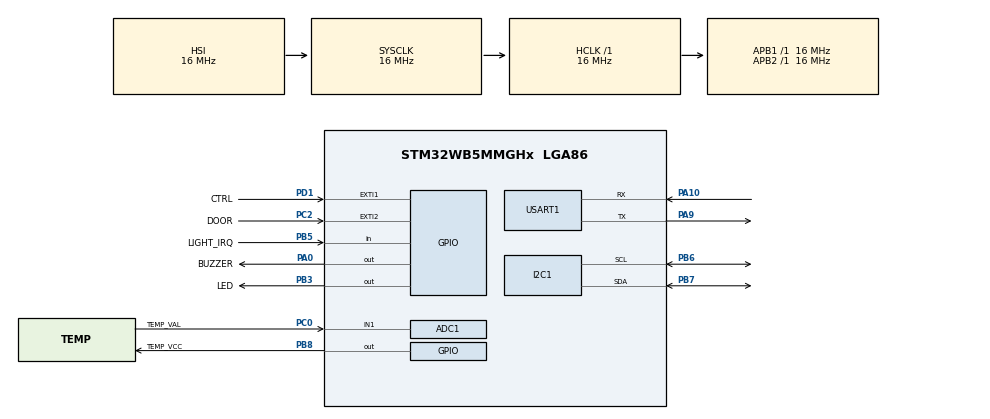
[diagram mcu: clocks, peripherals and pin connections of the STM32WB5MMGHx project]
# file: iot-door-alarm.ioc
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ADC1.Channel-0\#ChannelRegularConversion=ADC_CHANNEL_1
ADC1.NbrOfConversionFlag=1
ADC1.OffsetNumber-0\#ChannelRegularConversion=ADC_OFFSET_NONE
ADC1.Rank-0\#ChannelRegularConversion=1
ADC1.SamplingTime-0\#ChannelRegularConversion=ADC_SAMPLETIME_2CYCLES_5
ADC1.master=1
I2C1.Timing=0x00303D5B
Mcu.Family=STM32WB
Mcu.Name=STM32WB5MMGHx
Mcu.Package=LGA86
NVIC.EXTI1_IRQn=true\:0\:0\:false\:false\:true\:true\:true\:true
NVIC.EXTI2_IRQn=true\:0\:0\:false\:false\:true\:true\:true\:true
NVIC.PriorityGroup=NVIC_PRIORITYGROUP_4
PA0.GPIO_Label=BUZZER
PA0.Signal=GPIO_Output
PA10.Mode=Asynchronous
PA10.Signal=USART1_RX
PA13.Mode=Serial_Wire
PA13.Signal=SYS_JTMS-SWDIO
PA14.Mode=Serial_Wire
PA14.Signal=SYS_JTCK-SWCLK
PA9.Mode=Asynchronous
PA9.Signal=USART1_TX
PB3.GPIO_Label=LED
PB3.PinState=GPIO_PIN_RESET
PB3.Signal=GPIO_Output
PB5.GPIO_Label=LIGHT_IRQ
PB5.Signal=GPIO_Input
PB6.Mode=I2C
PB6.Signal=I2C1_SCL
PB7.Mode=I2C
PB7.Signal=I2C1_SDA
PB8.GPIO_FM8=__NULL
PB8.GPIO_Label=TEMP_VCC
PB8.Signal=GPIO_Output
PC0.GPIO_Label=TEMP_VAL
PC0.Signal=SharedAnalog_PC0
PC2.GPIO_Label=DOOR
PC2.Signal=GPXTI2
PD1.GPIO_Label=CTRL
PD1.GPIO_PuPd=GPIO_PULLDOWN
PD1.Signal=GPXTI1
ProjectManager.HeapSize=0x200
ProjectManager.StackSize=0x400
ProjectManager.TargetToolchain=STM32CubeIDE
RCC.ADCFreq_Value=48000000
RCC.AHBFreq_Value=16000000
RCC.APB1Freq_Value=16000000
RCC.APB1TimFreq_Value=16000000
RCC.APB2Freq_Value=16000000
RCC.APB2TimFreq_Value=16000000
RCC.APB3Freq_Value=16000000
RCC.CortexFreq_Value=16000000
RCC.HCLKFreq_Value=16000000
RCC.HSE_VALUE=32000000
RCC.HSI48_VALUE=48000000
RCC.HSI_VALUE=16000000
RCC.PLLSAI1N=24
RCC.SYSCLKFreq_VALUE=16000000
RCC.SYSCLKSource=RCC_SYSCLKSOURCE_HSI
RCC.USBFreq_Value=48000000
RCC.VCOOutputFreq_Value=32000000
SH.SharedAnalog_PC0.0=GPIO_Analog
SH.SharedAnalog_PC0.1=ADC1_IN1,IN1-Single-Ended
USART1.VirtualMode-Asynchronous=VM_ASYNC
VP_MEMORYMAP_VS_MEMORYMAP.Mode=CurAppReg
board=custom

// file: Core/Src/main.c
/* USER CODE BEGIN Header */
/**
 ******************************************************************************
 * @file           : main.c
 * @brief          : Main program body
 ******************************************************************************
 * @attention
 *
 * Copyright (c) 2023 STMicroelectronics.
 * All rights reserved.
 *
 * This software is licensed under terms that can be found in the LICENSE file
 * in the root directory of this software component.
 * If no LICENSE file comes with this software, it is provided AS-IS.
 *
 ******************************************************************************
 */
/* USER CODE END Header */
#include "main.h"

/* USER CODE BEGIN Includes */
#include <stdio.h>
#include "alarmefrigo.h"
#include "shtc3.h"

/* USER CODE END Includes */

/* USER CODE BEGIN PD */
float readVbatt(void);
/* USER CODE END PD */

ADC_HandleTypeDef hadc1;

I2C_HandleTypeDef hi2c1;

UART_HandleTypeDef huart1;

/* USER CODE BEGIN PV */

#ifdef __GNUC__
#define PUTCHAR_PROTOTYPE int __io_putchar(int ch)
#else
#define PUTCHAR_PROTOTYPE int fputc(int ch, FILE *f)
#endif

PUTCHAR_PROTOTYPE
{
	HAL_UART_Transmit(&huart1, (uint8_t *)&ch, 1, HAL_MAX_DELAY);
	return ch;
}

/* if 0: normal mode,
 * if 1: suspended (all switches can wake the CPU),
 * is 2: powerdown (only user button can wake the CPU).
 */
int suspended = 0;

void suspend(int mode)
{
	HAL_SuspendTick();
	suspended = mode;

	// Shutdown RF coprocessor.
	LL_C2_PWR_SetPowerMode(LL_PWR_MODE_STOP2);

	while (1)
	{
		// Shutdown CPU.
		HAL_PWREx_EnterSTOP2Mode(PWR_SLEEPENTRY_WFI);

		if (suspended == 0)
			break;
	}

	HAL_ResumeTick();
}

void sleep(uint32_t time)
{
	for (int t = 0; t < time; ++t)
		HAL_PWR_EnterSLEEPMode(PWR_MAINREGULATOR_ON, PWR_SLEEPENTRY_WFI);
}

/* USER CODE END PV */

void SystemClock_Config(void);
void PeriphCommonClock_Config(void);
static void MX_GPIO_Init(void);
static void MX_MEMORYMAP_Init(void);
static void MX_USART1_UART_Init(void);
static void MX_ADC1_Init(void);
static void MX_I2C1_Init(void);

int main(void)
{

	/* MCU Configuration--------------------------------------------------------*/

	/* Reset of all peripherals, Initializes the Flash interface and the Systick. */
	HAL_Init();

	/* Configure the system clock */
	SystemClock_Config();

	/* Configure the peripherals common clocks */
	PeriphCommonClock_Config();

	/* Initialize all configured peripherals */
	MX_GPIO_Init();
	MX_MEMORYMAP_Init();
	MX_USART1_UART_Init();
	MX_ADC1_Init();
	MX_I2C1_Init();
	/* USER CODE BEGIN 2 */

	// Shutdown RF coprocessor.
	LL_C2_PWR_SetPowerMode(LL_PWR_MODE_STOP2);

	SHTC3_Init(SHTC3_I2C_ADDR << 1, &hi2c1);
	SHTC3_Wakeup();

	alarmefrigo_setup();

	//	float temp, humi, vbatt;
	//	while (1) {
	//		SHTC3_GetTempAndHumiPolling(&temp, &humi);
	//		vbatt = readVbatt();
	//	}
	//	printf("temperature %4.2f C", temp);
	//	printf("humidity %4.2f", humi);
	//	printf("vbatt %4.2f", vbatt);

	HAL_Delay(1000);

	SHTC3_Sleep();

	/* USER CODE END 2 */

	/* Infinite loop */
	while (1)
	{

		/* USER CODE BEGIN 3 */

		alarmefrigo_loop();
	}
	/* USER CODE END 3 */
}

void SystemClock_Config(void)
{
	RCC_OscInitTypeDef RCC_OscInitStruct =
		{0};
	RCC_ClkInitTypeDef RCC_ClkInitStruct =
		{0};

	/** Macro to configure the PLL multiplication factor
	 */
	__HAL_RCC_PLL_PLLM_CONFIG(RCC_PLLM_DIV1);

	/** Macro to configure the PLL clock source
	 */
	__HAL_RCC_PLL_PLLSOURCE_CONFIG(RCC_PLLSOURCE_MSI);

	/** Configure the main internal regulator output voltage
	 */
	__HAL_PWR_VOLTAGESCALING_CONFIG(PWR_REGULATOR_VOLTAGE_SCALE1);

	/** Initializes the RCC Oscillators according to the specified parameters
	 * in the RCC_OscInitTypeDef structure.
	 */
	RCC_OscInitStruct.OscillatorType = RCC_OSCILLATORTYPE_HSI | RCC_OSCILLATORTYPE_MSI;
	RCC_OscInitStruct.HSIState = RCC_HSI_ON;
	RCC_OscInitStruct.MSIState = RCC_MSI_ON;
	RCC_OscInitStruct.HSICalibrationValue = RCC_HSICALIBRATION_DEFAULT;
	RCC_OscInitStruct.MSICalibrationValue = RCC_MSICALIBRATION_DEFAULT;
	RCC_OscInitStruct.MSIClockRange = RCC_MSIRANGE_6;
	RCC_OscInitStruct.PLL.PLLState = RCC_PLL_NONE;
	if (HAL_RCC_OscConfig(&RCC_OscInitStruct) != HAL_OK)
	{
		Error_Handler();
	}

	/** Configure the SYSCLKSource, HCLK, PCLK1 and PCLK2 clocks dividers
	 */
	RCC_ClkInitStruct.ClockType = RCC_CLOCKTYPE_HCLK4 | RCC_CLOCKTYPE_HCLK2 | RCC_CLOCKTYPE_HCLK | RCC_CLOCKTYPE_SYSCLK | RCC_CLOCKTYPE_PCLK1 | RCC_CLOCKTYPE_PCLK2;
	RCC_ClkInitStruct.SYSCLKSource = RCC_SYSCLKSOURCE_HSI;
	RCC_ClkInitStruct.AHBCLKDivider = RCC_SYSCLK_DIV1;
	RCC_ClkInitStruct.APB1CLKDivider = RCC_HCLK_DIV1;
	RCC_ClkInitStruct.APB2CLKDivider = RCC_HCLK_DIV1;
	RCC_ClkInitStruct.AHBCLK2Divider = RCC_SYSCLK_DIV1;
	RCC_ClkInitStruct.AHBCLK4Divider = RCC_SYSCLK_DIV1;

	if (HAL_RCC_ClockConfig(&RCC_ClkInitStruct, FLASH_LATENCY_0) != HAL_OK)
	{
		Error_Handler();
	}
}

void PeriphCommonClock_Config(void)
{
	RCC_PeriphCLKInitTypeDef PeriphClkInitStruct =
		{0};

	/** Initializes the peripherals clock
	 */
	PeriphClkInitStruct.PeriphClockSelection = RCC_PERIPHCLK_SMPS;
	PeriphClkInitStruct.SmpsClockSelection = RCC_SMPSCLKSOURCE_HSI;
	PeriphClkInitStruct.SmpsDivSelection = RCC_SMPSCLKDIV_RANGE1;

	if (HAL_RCCEx_PeriphCLKConfig(&PeriphClkInitStruct) != HAL_OK)
	{
		Error_Handler();
	}
}

static void MX_ADC1_Init(void)
{

	ADC_ChannelConfTypeDef sConfig =
		{0};

	/** Common config
	 */
	hadc1.Instance = ADC1;
	hadc1.Init.ClockPrescaler = ADC_CLOCK_ASYNC_DIV1;
	hadc1.Init.Resolution = ADC_RESOLUTION_12B;
	hadc1.Init.DataAlign = ADC_DATAALIGN_RIGHT;
	hadc1.Init.ScanConvMode = ADC_SCAN_DISABLE;
	hadc1.Init.EOCSelection = ADC_EOC_SINGLE_CONV;
	hadc1.Init.LowPowerAutoWait = DISABLE;
	hadc1.Init.ContinuousConvMode = DISABLE;
	hadc1.Init.NbrOfConversion = 1;
	hadc1.Init.DiscontinuousConvMode = DISABLE;
	hadc1.Init.ExternalTrigConv = ADC_SOFTWARE_START;
	hadc1.Init.ExternalTrigConvEdge = ADC_EXTERNALTRIGCONVEDGE_NONE;
	hadc1.Init.DMAContinuousRequests = DISABLE;
	hadc1.Init.Overrun = ADC_OVR_DATA_PRESERVED;
	hadc1.Init.OversamplingMode = DISABLE;
	if (HAL_ADC_Init(&hadc1) != HAL_OK)
	{
		Error_Handler();
	}

	/** Configure Regular Channel
	 */
	sConfig.Channel = ADC_CHANNEL_1;
	sConfig.Rank = ADC_REGULAR_RANK_1;
	sConfig.SamplingTime = ADC_SAMPLETIME_2CYCLES_5;
	sConfig.SingleDiff = ADC_SINGLE_ENDED;
	sConfig.OffsetNumber = ADC_OFFSET_NONE;
	sConfig.Offset = 0;
	if (HAL_ADC_ConfigChannel(&hadc1, &sConfig) != HAL_OK)
	{
		Error_Handler();
	}
}

static void MX_I2C1_Init(void)
{

	hi2c1.Instance = I2C1;
	hi2c1.Init.Timing = 0x00303D5B;
	hi2c1.Init.OwnAddress1 = 0;
	hi2c1.Init.AddressingMode = I2C_ADDRESSINGMODE_7BIT;
	hi2c1.Init.DualAddressMode = I2C_DUALADDRESS_DISABLE;
	hi2c1.Init.OwnAddress2 = 0;
	hi2c1.Init.OwnAddress2Masks = I2C_OA2_NOMASK;
	hi2c1.Init.GeneralCallMode = I2C_GENERALCALL_DISABLE;
	hi2c1.Init.NoStretchMode = I2C_NOSTRETCH_DISABLE;
	if (HAL_I2C_Init(&hi2c1) != HAL_OK)
	{
		Error_Handler();
	}

	/** Configure Analogue filter
	 */
	if (HAL_I2CEx_ConfigAnalogFilter(&hi2c1, I2C_ANALOGFILTER_ENABLE) != HAL_OK)
	{
		Error_Handler();
	}

	/** Configure Digital filter
	 */
	if (HAL_I2CEx_ConfigDigitalFilter(&hi2c1, 0) != HAL_OK)
	{
		Error_Handler();
	}
}

static void MX_MEMORYMAP_Init(void)
{

}

static void MX_USART1_UART_Init(void)
{

	huart1.Instance = USART1;
	huart1.Init.BaudRate = 115200;
	huart1.Init.WordLength = UART_WORDLENGTH_8B;
	huart1.Init.StopBits = UART_STOPBITS_1;
	huart1.Init.Parity = UART_PARITY_NONE;
	huart1.Init.Mode = UART_MODE_TX_RX;
	huart1.Init.HwFlowCtl = UART_HWCONTROL_NONE;
	huart1.Init.OverSampling = UART_OVERSAMPLING_16;
	huart1.Init.OneBitSampling = UART_ONE_BIT_SAMPLE_DISABLE;
	huart1.Init.ClockPrescaler = UART_PRESCALER_DIV1;
	huart1.AdvancedInit.AdvFeatureInit = UART_ADVFEATURE_NO_INIT;
	if (HAL_UART_Init(&huart1) != HAL_OK)
	{
		Error_Handler();
	}
	if (HAL_UARTEx_SetTxFifoThreshold(&huart1, UART_TXFIFO_THRESHOLD_1_8) != HAL_OK)
	{
		Error_Handler();
	}
	if (HAL_UARTEx_SetRxFifoThreshold(&huart1, UART_RXFIFO_THRESHOLD_1_8) != HAL_OK)
	{
		Error_Handler();
	}
	if (HAL_UARTEx_DisableFifoMode(&huart1) != HAL_OK)
	{
		Error_Handler();
	}
}

static void MX_GPIO_Init(void)
{
	GPIO_InitTypeDef GPIO_InitStruct =
		{0};

	/* GPIO Ports Clock Enable */
	__HAL_RCC_GPIOA_CLK_ENABLE();
	__HAL_RCC_GPIOC_CLK_ENABLE();
	__HAL_RCC_GPIOB_CLK_ENABLE();
	__HAL_RCC_GPIOH_CLK_ENABLE();
	__HAL_RCC_GPIOD_CLK_ENABLE();
	__HAL_RCC_GPIOE_CLK_ENABLE();

	/*Configure GPIO pin Output Level */
	HAL_GPIO_WritePin(BUZZER_GPIO_Port, BUZZER_Pin, GPIO_PIN_RESET);

	/*Configure GPIO pin Output Level */
	HAL_GPIO_WritePin(GPIOB, TEMP_VCC_Pin | LED_Pin, GPIO_PIN_RESET);

	/*Configure GPIO pins : PA2 PA1 PA15 PA12
	 PA11 PA8 PA7 PA6
	 PA5 PA4 PA3 */
	GPIO_InitStruct.Pin = GPIO_PIN_2 | GPIO_PIN_1 | GPIO_PIN_15 | GPIO_PIN_12 | GPIO_PIN_11 | GPIO_PIN_8 | GPIO_PIN_7 | GPIO_PIN_6 | GPIO_PIN_5 | GPIO_PIN_4 | GPIO_PIN_3;
	GPIO_InitStruct.Mode = GPIO_MODE_ANALOG;
	GPIO_InitStruct.Pull = GPIO_NOPULL;
	HAL_GPIO_Init(GPIOA, &GPIO_InitStruct);

	/*Configure GPIO pin : BUZZER_Pin */
	GPIO_InitStruct.Pin = BUZZER_Pin;
	GPIO_InitStruct.Mode = GPIO_MODE_OUTPUT_PP;
	GPIO_InitStruct.Pull = GPIO_NOPULL;
	GPIO_InitStruct.Speed = GPIO_SPEED_FREQ_LOW;
	HAL_GPIO_Init(BUZZER_GPIO_Port, &GPIO_InitStruct);

	/*Configure GPIO pins : PC3 PC1 PC10 PC11
	 PC12 PC6 PC13 PC5
	 PC4 PC9 PC7 PC8 */
	GPIO_InitStruct.Pin = GPIO_PIN_3 | GPIO_PIN_1 | GPIO_PIN_10 | GPIO_PIN_11 | GPIO_PIN_12 | GPIO_PIN_6 | GPIO_PIN_13 | GPIO_PIN_5 | GPIO_PIN_4 | GPIO_PIN_9 | GPIO_PIN_7 | GPIO_PIN_8;
	GPIO_InitStruct.Mode = GPIO_MODE_ANALOG;
	GPIO_InitStruct.Pull = GPIO_NOPULL;
	HAL_GPIO_Init(GPIOC, &GPIO_InitStruct);

	/*Configure GPIO pin : DOOR_Pin */
	GPIO_InitStruct.Pin = DOOR_Pin;
	GPIO_InitStruct.Mode = GPIO_MODE_IT_RISING;
	GPIO_InitStruct.Pull = GPIO_NOPULL;
	HAL_GPIO_Init(DOOR_GPIO_Port, &GPIO_InitStruct);

	/*Configure GPIO pins : PB9 PB4 PB13 PB14
	 PB15 PB12 PB1 PB0
	 PB11 PB10 PB2 */
	GPIO_InitStruct.Pin = GPIO_PIN_9 | GPIO_PIN_4 | GPIO_PIN_13 | GPIO_PIN_14 | GPIO_PIN_15 | GPIO_PIN_12 | GPIO_PIN_1 | GPIO_PIN_0 | GPIO_PIN_11 | GPIO_PIN_10 | GPIO_PIN_2;
	GPIO_InitStruct.Mode = GPIO_MODE_ANALOG;
	GPIO_InitStruct.Pull = GPIO_NOPULL;
	HAL_GPIO_Init(GPIOB, &GPIO_InitStruct);

	/*Configure GPIO pins : PH3 PH0 PH1 */
	GPIO_InitStruct.Pin = GPIO_PIN_3 | GPIO_PIN_0 | GPIO_PIN_1;
	GPIO_InitStruct.Mode = GPIO_MODE_ANALOG;
	GPIO_InitStruct.Pull = GPIO_NOPULL;
	HAL_GPIO_Init(GPIOH, &GPIO_InitStruct);

	/*Configure GPIO pins : TEMP_VCC_Pin LED_Pin */
	GPIO_InitStruct.Pin = TEMP_VCC_Pin | LED_Pin;
	GPIO_InitStruct.Mode = GPIO_MODE_OUTPUT_PP;
	GPIO_InitStruct.Pull = GPIO_NOPULL;
	GPIO_InitStruct.Speed = GPIO_SPEED_FREQ_LOW;
	HAL_GPIO_Init(GPIOB, &GPIO_InitStruct);

	/*Configure GPIO pin : LIGHT_IRQ_Pin */
	GPIO_InitStruct.Pin = LIGHT_IRQ_Pin;
	GPIO_InitStruct.Mode = GPIO_MODE_INPUT;
	GPIO_InitStruct.Pull = GPIO_NOPULL;
	HAL_GPIO_Init(LIGHT_IRQ_GPIO_Port, &GPIO_InitStruct);

	/*Configure GPIO pins : PD0 PD14 PD13 PD12
	 PD7 PD2 PD3 PD4
	 PD9 PD8 PD15 PD10
	 PD5 PD6 PD11 */
	GPIO_InitStruct.Pin = GPIO_PIN_0 | GPIO_PIN_14 | GPIO_PIN_13 | GPIO_PIN_12 | GPIO_PIN_7 | GPIO_PIN_2 | GPIO_PIN_3 | GPIO_PIN_4 | GPIO_PIN_9 | GPIO_PIN_8 | GPIO_PIN_15 | GPIO_PIN_10 | GPIO_PIN_5 | GPIO_PIN_6 | GPIO_PIN_11;
	GPIO_InitStruct.Mode = GPIO_MODE_ANALOG;
	GPIO_InitStruct.Pull = GPIO_NOPULL;
	HAL_GPIO_Init(GPIOD, &GPIO_InitStruct);

	/*Configure GPIO pin : CTRL_Pin */
	GPIO_InitStruct.Pin = CTRL_Pin;
	GPIO_InitStruct.Mode = GPIO_MODE_IT_RISING;
	GPIO_InitStruct.Pull = GPIO_PULLDOWN;
	HAL_GPIO_Init(CTRL_GPIO_Port, &GPIO_InitStruct);

	/*Configure GPIO pins : PE4 PE1 PE3 PE2
	 PE0 */
	GPIO_InitStruct.Pin = GPIO_PIN_4 | GPIO_PIN_1 | GPIO_PIN_3 | GPIO_PIN_2 | GPIO_PIN_0;
	GPIO_InitStruct.Mode = GPIO_MODE_ANALOG;
	GPIO_InitStruct.Pull = GPIO_NOPULL;
	HAL_GPIO_Init(GPIOE, &GPIO_InitStruct);

	/* EXTI interrupt init*/
	HAL_NVIC_SetPriority(EXTI1_IRQn, 0, 0);
	HAL_NVIC_EnableIRQ(EXTI1_IRQn);

	HAL_NVIC_SetPriority(EXTI2_IRQn, 0, 0);
	HAL_NVIC_EnableIRQ(EXTI2_IRQn);

}

/* USER CODE BEGIN 4 */

void HAL_GPIO_EXTI_Callback(uint16_t GPIO_Pin)
{
	if ((suspended == 1 && (GPIO_Pin == DOOR_Pin || GPIO_Pin == CTRL_Pin)) || (suspended == 2 && GPIO_Pin == CTRL_Pin))
	{
		// After waking up from SLEEPx, we must reset the clocks.
		SystemClock_Config();

		// Signal that it is OK.
		suspended = 0;
	}
}

float readVbatt(void)
{
	// Since I'm dumb I messed up VCC things so we have to hijack PA0 for analog input and derive VCC from it.
	// KNOWN: Rvcc = 220K, Radc ~= 50K and we can measure Vpin. Then simple voltage divider !

	// Reconfigure ADC1 to use PA0

	GPIO_InitTypeDef gpio_struct =
		{.Pin = GPIO_PIN_0, .Mode = GPIO_MODE_ANALOG};
	HAL_GPIO_Init(GPIOA, &gpio_struct);

	HAL_ADC_Stop(&hadc1);
	ADC_ChannelConfTypeDef sConfig =
		{0};
	sConfig.Channel = ADC_CHANNEL_5;
	sConfig.Rank = ADC_REGULAR_RANK_1;
	sConfig.SamplingTime = ADC_SAMPLETIME_2CYCLES_5;
	sConfig.SingleDiff = ADC_SINGLE_ENDED;
	sConfig.OffsetNumber = ADC_OFFSET_NONE;
	sConfig.Offset = 0;
	if (HAL_ADC_ConfigChannel(&hadc1, &sConfig) != HAL_OK)
	{
		Error_Handler();
	}
	HAL_ADC_Start(&hadc1);

	HAL_ADC_PollForConversion(&hadc1, 100);
	uint32_t val = HAL_ADC_GetValue(&hadc1);

	// restore initial params
	HAL_ADC_Stop(&hadc1);

	gpio_struct.Mode = GPIO_MODE_OUTPUT_PP;
	HAL_GPIO_Init(GPIOA, &gpio_struct);

	sConfig.Channel = ADC_CHANNEL_1;
	if (HAL_ADC_ConfigChannel(&hadc1, &sConfig) != HAL_OK)
	{
		Error_Handler();
	}
	HAL_ADC_Start(&hadc1);

	float vpin = 1.8 * (float)val / (1 << 12);
	float fact = (float)(44 + 220) / 44;

	return vpin * fact;
}
/* USER CODE END 4 */

void Error_Handler(void)
{
	__disable_irq();
	while (1)
	{
	}
}
